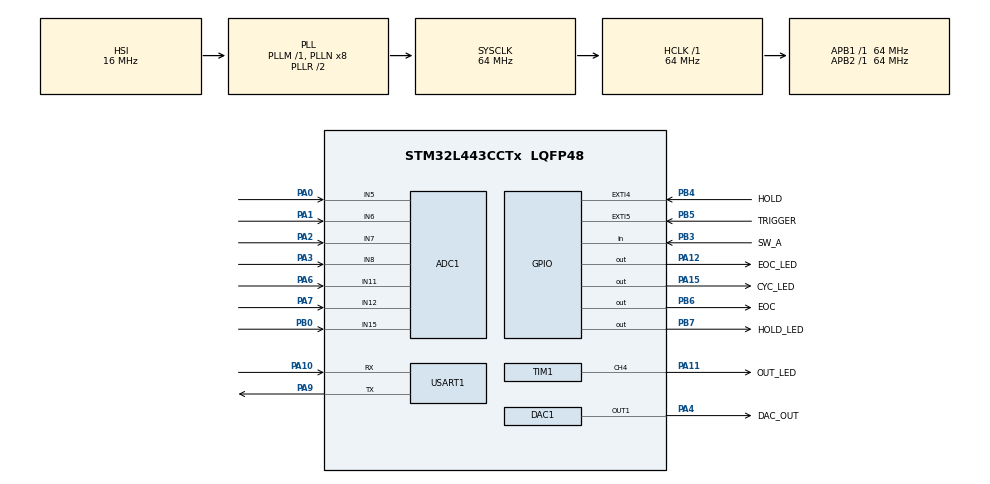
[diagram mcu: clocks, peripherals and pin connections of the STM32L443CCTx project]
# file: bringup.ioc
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ADC1.Channel-0\#ChannelRegularConversion=ADC_CHANNEL_5
ADC1.Channel-1\#ChannelRegularConversion=ADC_CHANNEL_6
ADC1.Channel-2\#ChannelRegularConversion=ADC_CHANNEL_7
ADC1.Channel-3\#ChannelRegularConversion=ADC_CHANNEL_8
ADC1.Channel-4\#ChannelRegularConversion=ADC_CHANNEL_11
ADC1.Channel-5\#ChannelRegularConversion=ADC_CHANNEL_12
ADC1.Channel-6\#ChannelRegularConversion=ADC_CHANNEL_15
ADC1.ClockPrescaler=ADC_CLOCK_ASYNC_DIV4
ADC1.DMAContinuousRequests=ENABLE
ADC1.EOCSelection=ADC_EOC_SINGLE_CONV
ADC1.ExternalTrigConv=ADC_EXTERNALTRIG_T2_TRGO
ADC1.NbrOfConversion=7
ADC1.NbrOfConversionFlag=1
ADC1.OffsetNumber-0\#ChannelRegularConversion=ADC_OFFSET_NONE
ADC1.OffsetNumber-1\#ChannelRegularConversion=ADC_OFFSET_NONE
ADC1.OffsetNumber-2\#ChannelRegularConversion=ADC_OFFSET_NONE
ADC1.OffsetNumber-3\#ChannelRegularConversion=ADC_OFFSET_NONE
ADC1.OffsetNumber-4\#ChannelRegularConversion=ADC_OFFSET_NONE
ADC1.OffsetNumber-5\#ChannelRegularConversion=ADC_OFFSET_NONE
ADC1.OffsetNumber-6\#ChannelRegularConversion=ADC_OFFSET_NONE
ADC1.OversamplingMode=DISABLE
ADC1.Rank-0\#ChannelRegularConversion=1
ADC1.Rank-1\#ChannelRegularConversion=2
ADC1.Rank-2\#ChannelRegularConversion=3
ADC1.Rank-3\#ChannelRegularConversion=4
ADC1.Rank-4\#ChannelRegularConversion=5
ADC1.Rank-5\#ChannelRegularConversion=6
ADC1.Rank-6\#ChannelRegularConversion=7
ADC1.SamplingTime-0\#ChannelRegularConversion=ADC_SAMPLETIME_6CYCLES_5
ADC1.SamplingTime-1\#ChannelRegularConversion=ADC_SAMPLETIME_6CYCLES_5
ADC1.SamplingTime-2\#ChannelRegularConversion=ADC_SAMPLETIME_6CYCLES_5
ADC1.SamplingTime-3\#ChannelRegularConversion=ADC_SAMPLETIME_6CYCLES_5
ADC1.SamplingTime-4\#ChannelRegularConversion=ADC_SAMPLETIME_6CYCLES_5
ADC1.SamplingTime-5\#ChannelRegularConversion=ADC_SAMPLETIME_6CYCLES_5
ADC1.SamplingTime-6\#ChannelRegularConversion=ADC_SAMPLETIME_6CYCLES_5
ADC1.master=1
DAC1.DAC_Trigger-DAC_OUT1_ExtAndInt=DAC_TRIGGER_T2_TRGO
Dma.ADC1.2.Direction=DMA_PERIPH_TO_MEMORY
Dma.ADC1.2.Instance=DMA1_Channel1
Dma.ADC1.2.MemDataAlignment=DMA_MDATAALIGN_HALFWORD
Dma.ADC1.2.MemInc=DMA_MINC_ENABLE
Dma.ADC1.2.Mode=DMA_CIRCULAR
Dma.ADC1.2.PeriphDataAlignment=DMA_PDATAALIGN_HALFWORD
Dma.ADC1.2.PeriphInc=DMA_PINC_DISABLE
Dma.ADC1.2.Priority=DMA_PRIORITY_MEDIUM
Dma.DAC_CH1.3.Direction=DMA_MEMORY_TO_PERIPH
Dma.DAC_CH1.3.Instance=DMA1_Channel3
Dma.DAC_CH1.3.MemDataAlignment=DMA_MDATAALIGN_HALFWORD
Dma.DAC_CH1.3.MemInc=DMA_MINC_ENABLE
Dma.DAC_CH1.3.Mode=DMA_NORMAL
Dma.DAC_CH1.3.PeriphDataAlignment=DMA_PDATAALIGN_HALFWORD
Dma.DAC_CH1.3.PeriphInc=DMA_PINC_DISABLE
Dma.DAC_CH1.3.Priority=DMA_PRIORITY_MEDIUM
Dma.Request0=USART1_RX
Dma.Request1=USART1_TX
Dma.Request2=ADC1
Dma.Request3=DAC_CH1
Dma.USART1_RX.0.Direction=DMA_PERIPH_TO_MEMORY
Dma.USART1_RX.0.Instance=DMA1_Channel5
Dma.USART1_RX.0.MemDataAlignment=DMA_MDATAALIGN_BYTE
Dma.USART1_RX.0.MemInc=DMA_MINC_ENABLE
Dma.USART1_RX.0.Mode=DMA_NORMAL
Dma.USART1_RX.0.PeriphDataAlignment=DMA_PDATAALIGN_BYTE
Dma.USART1_RX.0.PeriphInc=DMA_PINC_DISABLE
Dma.USART1_RX.0.Priority=DMA_PRIORITY_LOW
Dma.USART1_TX.1.Direction=DMA_MEMORY_TO_PERIPH
Dma.USART1_TX.1.Instance=DMA1_Channel4
Dma.USART1_TX.1.MemDataAlignment=DMA_MDATAALIGN_BYTE
Dma.USART1_TX.1.MemInc=DMA_MINC_ENABLE
Dma.USART1_TX.1.Mode=DMA_NORMAL
Dma.USART1_TX.1.PeriphDataAlignment=DMA_PDATAALIGN_BYTE
Dma.USART1_TX.1.PeriphInc=DMA_PINC_DISABLE
Dma.USART1_TX.1.Priority=DMA_PRIORITY_LOW
Mcu.Family=STM32L4
Mcu.Name=STM32L443CCTx
Mcu.Package=LQFP48
NVIC.ADC1_IRQn=true\:0\:0\:false\:false\:true\:true\:true
NVIC.DMA1_Channel1_IRQn=true\:0\:0\:false\:false\:true\:false\:true
NVIC.DMA1_Channel3_IRQn=true\:0\:0\:false\:false\:true\:false\:true
NVIC.DMA1_Channel4_IRQn=true\:0\:0\:false\:false\:true\:false\:true
NVIC.DMA1_Channel5_IRQn=true\:0\:0\:false\:false\:true\:false\:true
NVIC.EXTI4_IRQn=true\:3\:0\:true\:false\:true\:true\:true
NVIC.EXTI9_5_IRQn=true\:3\:0\:true\:false\:true\:true\:true
NVIC.PriorityGroup=NVIC_PRIORITYGROUP_4
NVIC.TIM2_IRQn=true\:0\:0\:false\:false\:true\:true\:true
NVIC.TIM6_DAC_IRQn=true\:0\:0\:false\:false\:true\:true\:true
NVIC.USART1_IRQn=true\:4\:0\:true\:false\:true\:true\:true
PA0.Signal=ADCx_IN5
PA1.Signal=ADCx_IN6
PA10.Mode=Asynchronous
PA10.Signal=USART1_RX
PA11.GPIO_Label=OUT_LED
PA11.Signal=S_TIM1_CH4
PA12.GPIO_Label=EOC_LED
PA12.Signal=GPIO_Output
PA13\ (JTMS-SWDIO).Mode=Serial_Wire
PA13\ (JTMS-SWDIO).Signal=SYS_JTMS-SWDIO
PA14\ (JTCK-SWCLK).Mode=Serial_Wire
PA14\ (JTCK-SWCLK).Signal=SYS_JTCK-SWCLK
PA15\ (JTDI).GPIO_Label=CYC_LED
PA15\ (JTDI).Signal=GPIO_Output
PA2.Signal=ADCx_IN7
PA3.Signal=ADCx_IN8
PA4.GPIO_Label=DAC_OUT
PA4.Signal=COMP_DAC11_group
PA6.Signal=ADCx_IN11
PA7.Signal=ADCx_IN12
PA9.Mode=Asynchronous
PA9.Signal=USART1_TX
PB0.Signal=ADCx_IN15
PB3\ (JTDO-TRACESWO).GPIO_Label=SW_A
PB3\ (JTDO-TRACESWO).GPIO_PuPd=GPIO_PULLUP
PB3\ (JTDO-TRACESWO).Signal=GPIO_Input
PB4\ (NJTRST).GPIO_Label=HOLD
PB4\ (NJTRST).GPIO_ModeDefaultEXTI=GPIO_MODE_IT_RISING_FALLING
PB4\ (NJTRST).Signal=GPXTI4
PB5.GPIO_Label=TRIGGER
PB5.GPIO_ModeDefaultEXTI=GPIO_MODE_IT_RISING_FALLING
PB5.Signal=GPXTI5
PB6.GPIO_Label=EOC
PB6.Signal=GPIO_Output
PB7.GPIO_Label=HOLD_LED
PB7.Signal=GPIO_Output
ProjectManager.HeapSize=0x200
ProjectManager.StackSize=0x400
ProjectManager.TargetToolchain=Makefile
RCC.ADCFreq_Value=64000000
RCC.AHBFreq_Value=64000000
RCC.APB1Freq_Value=64000000
RCC.APB1TimFreq_Value=64000000
RCC.APB2Freq_Value=64000000
RCC.APB2TimFreq_Value=64000000
RCC.CortexFreq_Value=64000000
RCC.HCLKFreq_Value=64000000
RCC.HSE_VALUE=8000000
RCC.HSI48_VALUE=48000000
RCC.HSI_VALUE=16000000
RCC.LSE_VALUE=32768
RCC.MSI_VALUE=4000000
RCC.PLLSourceVirtual=RCC_PLLSOURCE_HSI
RCC.SYSCLKFreq_VALUE=64000000
RCC.SYSCLKSource=RCC_SYSCLKSOURCE_PLLCLK
RCC.USBFreq_Value=64000000
RCC.VCOOutputFreq_Value=128000000
SH.ADCx_IN11.0=ADC1_IN11,IN11-Single-Ended
SH.ADCx_IN12.0=ADC1_IN12,IN12-Single-Ended
SH.ADCx_IN15.0=ADC1_IN15,IN15-Single-Ended
SH.ADCx_IN5.0=ADC1_IN5,IN5-Single-Ended
SH.ADCx_IN6.0=ADC1_IN6,IN6-Single-Ended
SH.ADCx_IN7.0=ADC1_IN7,IN7-Single-Ended
SH.ADCx_IN8.0=ADC1_IN8,IN8-Single-Ended
SH.COMP_DAC11_group.0=DAC1_OUT1,DAC_OUT1_ExtAndInt
SH.S_TIM1_CH4.0=TIM1_CH4,PWM Generation4 CH4
TIM1.Channel-PWM\ Generation4\ CH4=TIM_CHANNEL_4
TIM1.Period=255
TIM1.Prescaler=984
TIM2.Period=1450
TIM2.TIM_MasterOutputTrigger=TIM_TRGO_UPDATE
TIM6.Period=1000
TIM6.TIM_MasterOutputTrigger=TIM_TRGO_UPDATE
TIM7.Period=49000
TIM7.TIM_MasterOutputTrigger=TIM_TRGO_UPDATE
USART1.VirtualMode-Asynchronous=VM_ASYNC
VP_TIM1_VS_ClockSourceINT.Mode=Internal
VP_TIM1_VS_ClockSourceITR.Mode=TriggerSource_ITR1
VP_TIM1_VS_ControllerModeTrigger.Mode=Trigger Mode
VP_TIM2_VS_ClockSourceINT.Mode=Internal
VP_TIM6_VS_ClockSourceINT.Mode=Enable_Timer
VP_TIM7_VS_ClockSourceINT.Mode=Enable_Timer
board=custom

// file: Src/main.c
/* USER CODE BEGIN Header */
/**
  ******************************************************************************
  * @file           : main.c
  * @brief          : Main program body
  ******************************************************************************
  * @attention
  *
  * <h2><center>&copy; Copyright (c) 2019 STMicroelectronics.
  * All rights reserved.</center></h2>
  *
  * This software component is licensed by ST under BSD 3-Clause license,
  * the "License"; You may not use this file except in compliance with the
  * License. You may obtain a copy of the License at:
  *                        opensource.org/licenses/BSD-3-Clause
  *
  ******************************************************************************
  */
/* USER CODE END Header */

#include "main.h"

/* USER CODE BEGIN Includes */
#include <string.h>
#include <math.h>
#include <stdio.h>
#include <stdlib.h>
/* USER CODE END Includes */

/* USER CODE BEGIN PTD */
enum CLI_COMMAND
{
  CLI_ERR,
  CLI_REF,
  CLI_DAC,
  CLI_VOUT,
  CLI_CAL,
  CLI_SAVE,
  CLI_LOAD,
  CLI_SIZE,
  CLI_RESET,
  CLI_RANDOM,
  CLI_TRIG,
  CLI_HELP
};
/* USER CODE END PTD */

/* USER CODE BEGIN PD */
#define DRAWCSV 0
#define FLASH_USER_ADDR 0x08010000 /* Start @ of user Flash area */
/* USER CODE END PD */

/* USER CODE BEGIN PM */
#define log(M, ...)                                                                   \
  sprintf(uartMessage, "[LOG] (%s:%d) - " M "\n", __FILE__, __LINE__, ##__VA_ARGS__); \
  HAL_UART_Transmit(&huart1, (uint8_t *)uartMessage, strlen(uartMessage), HAL_MAX_DELAY);

#define printcl(M, ...)                               \
  sprintf(uartMessage, "\033[K" M "", ##__VA_ARGS__); \
  HAL_UART_Transmit(&huart1, (uint8_t *)uartMessage, strlen(uartMessage), HAL_MAX_DELAY);

#define print(M, ...)                           \
  sprintf(uartMessage, "" M "", ##__VA_ARGS__); \
  HAL_UART_Transmit(&huart1, (uint8_t *)uartMessage, strlen(uartMessage), HAL_MAX_DELAY);
/* USER CODE END PM */

ADC_HandleTypeDef hadc1;
DMA_HandleTypeDef hdma_adc1;

DAC_HandleTypeDef hdac1;
DMA_HandleTypeDef hdma_dac_ch1;

TIM_HandleTypeDef htim1;
TIM_HandleTypeDef htim2;
TIM_HandleTypeDef htim6;
TIM_HandleTypeDef htim7;

UART_HandleTypeDef huart1;
DMA_HandleTypeDef hdma_usart1_rx;
DMA_HandleTypeDef hdma_usart1_tx;

/* USER CODE BEGIN PV */

volatile GPIO_PinState switchState;
volatile GPIO_PinState triggerState;
volatile GPIO_PinState holdState;
volatile uint8_t outLedVal;
volatile uint16_t adcValues[7];
volatile uint16_t dacValue[1];
uint16_t targetDac;
char uartMessage[255];
char inString[32];
volatile char uartRXBuffer[10];

volatile uint32_t printTime = 0;

// Envelope Configuration
uint8_t TRIGGER_HOLD = 0;
uint8_t RANDOM = 0;

// Callibration Defines
const int ADC_RESOLUTION = 12;
uint16_t SAMPLES = 50; // 5000

uint16_t MAXADC;                 // maximum possible reading from ADC
float VREF = 3.3;                // ADC reference voltage (= power supply)
float VINPUT = 1.65;             // ADC input voltage from Normalized Jack
int16_t EXPECTED;                // expected ADC reading
int16_t adcCalibration[7] = {0}; // calibration table;
int16_t dacCalibration = 0;
int16_t adcOffset[7] = {0}; // offset table;

float SAMPLERATE = 0;

volatile ITStatus UartRXReady = RESET;
volatile ITStatus UartTXReady = RESET;
/* USER CODE END PV */

void SystemClock_Config(void);
static void MX_GPIO_Init(void);
static void MX_DMA_Init(void);
static void MX_ADC1_Init(void);
static void MX_DAC1_Init(void);
static void MX_TIM1_Init(void);
static void MX_TIM2_Init(void);
static void MX_TIM6_Init(void);
static void MX_TIM7_Init(void);
static void MX_USART1_UART_Init(void);
/* USER CODE BEGIN PFP */
static void LED_introSequence(void);
static GPIO_PinState read_Switch(void);
static void setPWM(uint8_t);
static void moveCursor(uint8_t, uint8_t);

static uint16_t read_ADC_Raw(ADC_Inputs);
static float read_ADC_Normalized(ADC_Inputs);
static float read_ADC_Voltage(ADC_Inputs);
static void Write_Flash(uint32_t, uint32_t *, uint32_t);
static uint32_t Read_Flash(uint32_t);
static uint32_t Get_Page(uint32_t);
static void save_Calibration(void);
static void load_Calibration(void);
static void read_User_Input(void);
static void parse_Command(void);
/* USER CODE END PFP */

int main(void)
{

  /* MCU Configuration--------------------------------------------------------*/

  /* Reset of all peripherals, Initializes the Flash interface and the Systick. */
  HAL_Init();

  /* Configure the system clock */
  SystemClock_Config();

  /* Initialize all configured peripherals */
  MX_GPIO_Init();
  MX_DMA_Init();
  MX_ADC1_Init();
  MX_DAC1_Init();
  MX_TIM1_Init();
  MX_TIM2_Init();
  MX_TIM6_Init();
  MX_TIM7_Init();
  MX_USART1_UART_Init();
  /* USER CODE BEGIN 2 */
  dacValue[0] = 0;
  MAXADC = (1 << ADC_RESOLUTION) - 1;  // maximum possible reading from ADC
  EXPECTED = MAXADC * (VINPUT / VREF); // expected ADC reading

  inString[0] = '\0';

  SAMPLERATE = HAL_RCC_GetHCLKFreq() / (float)htim2.Init.Period;

  HAL_DAC_Init(&hdac1);
  HAL_TIM_PWM_Start(&htim1, TIM_CHANNEL_4);
  HAL_TIM_Base_Start_IT(&htim2);
  HAL_ADC_Start_DMA(&hadc1, (uint32_t *)adcValues, 7);
  HAL_DAC_Start_DMA(&hdac1, DAC_CHANNEL_1, (uint32_t *)dacValue, 1, DAC_ALIGN_12B_R);

  LED_introSequence();
  outLedVal = 0;

  /* USER CODE END 2 */

  /* Infinite loop */
  /* USER CODE BEGIN WHILE */
  while (1)
  {
    read_Switch();
    /* USER CODE END WHILE */

    /* USER CODE BEGIN 3 */

    // ADC statistics

    if ((HAL_GetTick() - printTime) > 100)
    {
      printTime = HAL_GetTick();
      setPWM(outLedVal);
      outLedVal++;

      print("\033[?6h \033[H"); // [2J clear entire screen
      print("flash: %lx\n", Read_Flash(0x08010000));
      printcl("LED: %d\n", outLedVal); // [2J clear entire screen
      printcl("DAC: %d  \t OFF: %d \t", dacValue[0], dacCalibration);
      print("RATE: %f\n", SAMPLERATE);
      print("TRIG: %d \t TRIG-HOLD: %d \n", triggerState, TRIGGER_HOLD);
      print("HOLD: %d \t RANDOM: %d\n", holdState, RANDOM);
      print("CYCLE: %d\n", switchState);

      int tab = 3;
      moveCursor(7, tab);
      if (!DRAWCSV)
      {
        print("PIN");
        moveCursor(7, tab += 8);
        print("ADC");
        moveCursor(7, tab += 8);
        print("ADC V");
        moveCursor(7, tab += 8);
        print("VIN");
        moveCursor(7, tab += 8);
        print("VAR");
        moveCursor(7, tab += 8);
        print("STD");
        moveCursor(7, tab += 8);
        print("AVG");
        moveCursor(7, tab += 8);
        print("PPN");
        moveCursor(7, tab += 8);
        print("OFF");
      }
      else
      {
        moveCursor(7, tab += 8);
        print("PIN, ");
        moveCursor(7, tab += 8);
        print("ADC, ");
        moveCursor(7, tab += 8);
        print("VAR, ");
        moveCursor(7, tab += 8);
        print("STD, ");
        moveCursor(7, tab += 8);
        print("AVG, ");
        moveCursor(7, tab += 8);
        print("PPN");
      }

      float maxVariance = 0;
      float maxSTD = 0;
      int maxPPN = 0;
      float avrVariance = 0;
      float avrSTD = 0;
      int avrPPN = 0;

      for (int i = 0; i < 7; i++)
      {
        long datSum = 0; // reset our accumulated sum of input values to zero
        int sMax = 0;
        int sMin = MAXADC;
        long n;                                     // count of how many readings so far
        double x, mean, delta, m2, variance, stdev; // to calculate standard deviation

        n = 0;    // have not made any ADC readings yet
        mean = 0; // start off with running mean at zero
        m2 = 0;

        tab = 3;
        moveCursor(8 + i, tab);

        for (int j = 0; j < SAMPLES; j++)
        {
          x = adcValues[i] - adcCalibration[i]; // callibration offset
          datSum += x;
          if (x > sMax)
            sMax = x;
          if (x < sMin)
            sMin = x;
          n++;
          delta = x - mean;
          mean += delta / n;
          m2 += (delta * (x - mean));
        }

        variance = m2 / (n - 1); // (n-1):Sample Variance	(n): Population Variance
        stdev = sqrt(variance);  // Calculate standard deviation
        float datAvg = (1.0 * datSum) / n;
        int ppNoise = sMax - sMin;

        if (ppNoise > maxPPN)
          maxPPN = ppNoise;
        if (stdev > maxSTD)
          maxSTD = stdev;
        if (variance > maxVariance)
          maxVariance = variance;
        avrPPN += ppNoise;
        avrSTD += stdev;
        avrVariance += variance;

        int sOffset;

        sOffset = datAvg - EXPECTED;

        adcOffset[i] = sOffset;

        moveCursor(8 + i, tab);
        printcl("A%d:", i);
        moveCursor(8 + i, tab += 8);
        print("%d", adcValues[i]);
        moveCursor(8 + i, tab += 8);
        print("%.2f", (adcValues[i] / (float)MAXADC) * 3.3);
        moveCursor(8 + i, tab += 8);
        if (i > 2)
        {
          print("%.2f", ((adcValues[i] / (float)MAXADC) * 3.3) / -0.33 + 5);
        }
        moveCursor(8 + i, tab += 8);
        print("%.2f", variance);
        moveCursor(8 + i, tab += 8);
        print("%.2f", stdev);
        moveCursor(8 + i, tab += 8);
        print("%.1f", datAvg);
        moveCursor(8 + i, tab += 8);
        print("%d", ppNoise);
        moveCursor(8 + i, tab += 8);
        print("%d", sOffset);
      }
      // print stats for all ADC pins
      avrPPN /= 12;
      avrSTD /= 12.0;
      avrVariance /= 12.0;
      tab = 3 + 8 * 3;
      moveCursor(16, tab);
      printcl("Max:");
      moveCursor(17, tab);
      printcl("Avr:");

      moveCursor(16, tab + 8);
      print("%.2f", maxVariance);
      moveCursor(17, tab + 8);
      print("%.2f", avrVariance);
      moveCursor(16, tab + 16);
      print("%.2f", maxSTD);
      moveCursor(17, tab + 16);
      print("%.2f", avrSTD);
      moveCursor(16, tab + 32);
      print("%d", maxPPN);
      moveCursor(17, tab + 32);
      print("%d", avrPPN);

      printcl("\n\n pot: %.2f \t\t cv: %f \t\t norm: %f \t\t cal: %d", read_ADC_Voltage(ADC_ATTACK_POT), read_ADC_Voltage(ADC_ATTACK_CV), read_ADC_Normalized(ADC_ATTACK_CV), adcCalibration[ADC_ATTACK_CV]);
    }

    read_User_Input();
  }
  /* USER CODE END 3 */
}

void SystemClock_Config(void)
{
  RCC_OscInitTypeDef RCC_OscInitStruct = {0};
  RCC_ClkInitTypeDef RCC_ClkInitStruct = {0};
  RCC_PeriphCLKInitTypeDef PeriphClkInit = {0};

  /** Initializes the CPU, AHB and APB busses clocks
  */
  RCC_OscInitStruct.OscillatorType = RCC_OSCILLATORTYPE_HSI;
  RCC_OscInitStruct.HSIState = RCC_HSI_ON;
  RCC_OscInitStruct.HSICalibrationValue = RCC_HSICALIBRATION_DEFAULT;
  RCC_OscInitStruct.PLL.PLLState = RCC_PLL_ON;
  RCC_OscInitStruct.PLL.PLLSource = RCC_PLLSOURCE_HSI;
  RCC_OscInitStruct.PLL.PLLM = 1;
  RCC_OscInitStruct.PLL.PLLN = 8;
  RCC_OscInitStruct.PLL.PLLP = RCC_PLLP_DIV7;
  RCC_OscInitStruct.PLL.PLLQ = RCC_PLLQ_DIV2;
  RCC_OscInitStruct.PLL.PLLR = RCC_PLLR_DIV2;
  if (HAL_RCC_OscConfig(&RCC_OscInitStruct) != HAL_OK)
  {
    Error_Handler();
  }
  /** Initializes the CPU, AHB and APB busses clocks
  */
  RCC_ClkInitStruct.ClockType = RCC_CLOCKTYPE_HCLK | RCC_CLOCKTYPE_SYSCLK | RCC_CLOCKTYPE_PCLK1 | RCC_CLOCKTYPE_PCLK2;
  RCC_ClkInitStruct.SYSCLKSource = RCC_SYSCLKSOURCE_PLLCLK;
  RCC_ClkInitStruct.AHBCLKDivider = RCC_SYSCLK_DIV1;
  RCC_ClkInitStruct.APB1CLKDivider = RCC_HCLK_DIV1;
  RCC_ClkInitStruct.APB2CLKDivider = RCC_HCLK_DIV1;

  if (HAL_RCC_ClockConfig(&RCC_ClkInitStruct, FLASH_LATENCY_3) != HAL_OK)
  {
    Error_Handler();
  }
  PeriphClkInit.PeriphClockSelection = RCC_PERIPHCLK_USART1 | RCC_PERIPHCLK_ADC;
  PeriphClkInit.Usart1ClockSelection = RCC_USART1CLKSOURCE_PCLK2;
  PeriphClkInit.AdcClockSelection = RCC_ADCCLKSOURCE_PLLSAI1;
  PeriphClkInit.PLLSAI1.PLLSAI1Source = RCC_PLLSOURCE_HSI;
  PeriphClkInit.PLLSAI1.PLLSAI1M = 1;
  PeriphClkInit.PLLSAI1.PLLSAI1N = 8;
  PeriphClkInit.PLLSAI1.PLLSAI1P = RCC_PLLP_DIV7;
  PeriphClkInit.PLLSAI1.PLLSAI1Q = RCC_PLLQ_DIV2;
  PeriphClkInit.PLLSAI1.PLLSAI1R = RCC_PLLR_DIV2;
  PeriphClkInit.PLLSAI1.PLLSAI1ClockOut = RCC_PLLSAI1_ADC1CLK;
  if (HAL_RCCEx_PeriphCLKConfig(&PeriphClkInit) != HAL_OK)
  {
    Error_Handler();
  }
  /** Configure the main internal regulator output voltage
  */
  if (HAL_PWREx_ControlVoltageScaling(PWR_REGULATOR_VOLTAGE_SCALE1) != HAL_OK)
  {
    Error_Handler();
  }
}

static void MX_ADC1_Init(void)
{

  ADC_ChannelConfTypeDef sConfig = {0};

  /** Common config
  */
  hadc1.Instance = ADC1;
  hadc1.Init.ClockPrescaler = ADC_CLOCK_ASYNC_DIV4;
  hadc1.Init.Resolution = ADC_RESOLUTION_12B;
  hadc1.Init.DataAlign = ADC_DATAALIGN_RIGHT;
  hadc1.Init.ScanConvMode = ADC_SCAN_ENABLE;
  hadc1.Init.EOCSelection = ADC_EOC_SINGLE_CONV;
  hadc1.Init.LowPowerAutoWait = DISABLE;
  hadc1.Init.ContinuousConvMode = DISABLE;
  hadc1.Init.NbrOfConversion = 7;
  hadc1.Init.DiscontinuousConvMode = DISABLE;
  hadc1.Init.ExternalTrigConv = ADC_EXTERNALTRIG_T2_TRGO;
  hadc1.Init.ExternalTrigConvEdge = ADC_EXTERNALTRIGCONVEDGE_RISING;
  hadc1.Init.DMAContinuousRequests = ENABLE;
  hadc1.Init.Overrun = ADC_OVR_DATA_PRESERVED;
  hadc1.Init.OversamplingMode = DISABLE;
  if (HAL_ADC_Init(&hadc1) != HAL_OK)
  {
    Error_Handler();
  }
  /** Configure Regular Channel
  */
  sConfig.Channel = ADC_CHANNEL_5;
  sConfig.Rank = ADC_REGULAR_RANK_1;
  sConfig.SamplingTime = ADC_SAMPLETIME_6CYCLES_5;
  sConfig.SingleDiff = ADC_SINGLE_ENDED;
  sConfig.OffsetNumber = ADC_OFFSET_NONE;
  sConfig.Offset = 0;
  if (HAL_ADC_ConfigChannel(&hadc1, &sConfig) != HAL_OK)
  {
    Error_Handler();
  }
  /** Configure Regular Channel
  */
  sConfig.Channel = ADC_CHANNEL_6;
  sConfig.Rank = ADC_REGULAR_RANK_2;
  if (HAL_ADC_ConfigChannel(&hadc1, &sConfig) != HAL_OK)
  {
    Error_Handler();
  }
  /** Configure Regular Channel
  */
  sConfig.Channel = ADC_CHANNEL_7;
  sConfig.Rank = ADC_REGULAR_RANK_3;
  if (HAL_ADC_ConfigChannel(&hadc1, &sConfig) != HAL_OK)
  {
    Error_Handler();
  }
  /** Configure Regular Channel
  */
  sConfig.Channel = ADC_CHANNEL_8;
  sConfig.Rank = ADC_REGULAR_RANK_4;
  if (HAL_ADC_ConfigChannel(&hadc1, &sConfig) != HAL_OK)
  {
    Error_Handler();
  }
  /** Configure Regular Channel
  */
  sConfig.Channel = ADC_CHANNEL_11;
  sConfig.Rank = ADC_REGULAR_RANK_5;
  if (HAL_ADC_ConfigChannel(&hadc1, &sConfig) != HAL_OK)
  {
    Error_Handler();
  }
  /** Configure Regular Channel
  */
  sConfig.Channel = ADC_CHANNEL_12;
  sConfig.Rank = ADC_REGULAR_RANK_6;
  if (HAL_ADC_ConfigChannel(&hadc1, &sConfig) != HAL_OK)
  {
    Error_Handler();
  }
  /** Configure Regular Channel
  */
  sConfig.Channel = ADC_CHANNEL_15;
  sConfig.Rank = ADC_REGULAR_RANK_7;
  if (HAL_ADC_ConfigChannel(&hadc1, &sConfig) != HAL_OK)
  {
    Error_Handler();
  }
}

static void MX_DAC1_Init(void)
{

  DAC_ChannelConfTypeDef sConfig = {0};

  /** DAC Initialization
  */
  hdac1.Instance = DAC1;
  if (HAL_DAC_Init(&hdac1) != HAL_OK)
  {
    Error_Handler();
  }
  /** DAC channel OUT1 config
  */
  sConfig.DAC_SampleAndHold = DAC_SAMPLEANDHOLD_DISABLE;
  sConfig.DAC_Trigger = DAC_TRIGGER_T2_TRGO;
  sConfig.DAC_OutputBuffer = DAC_OUTPUTBUFFER_DISABLE;
  sConfig.DAC_ConnectOnChipPeripheral = DAC_CHIPCONNECT_DISABLE;
  sConfig.DAC_UserTrimming = DAC_TRIMMING_FACTORY;
  if (HAL_DAC_ConfigChannel(&hdac1, &sConfig, DAC_CHANNEL_1) != HAL_OK)
  {
    Error_Handler();
  }
}

static void MX_TIM1_Init(void)
{

  TIM_ClockConfigTypeDef sClockSourceConfig = {0};
  TIM_SlaveConfigTypeDef sSlaveConfig = {0};
  TIM_MasterConfigTypeDef sMasterConfig = {0};
  TIM_OC_InitTypeDef sConfigOC = {0};
  TIM_BreakDeadTimeConfigTypeDef sBreakDeadTimeConfig = {0};

  htim1.Instance = TIM1;
  htim1.Init.Prescaler = 984;
  htim1.Init.CounterMode = TIM_COUNTERMODE_UP;
  htim1.Init.Period = 255;
  htim1.Init.ClockDivision = TIM_CLOCKDIVISION_DIV1;
  htim1.Init.RepetitionCounter = 0;
  htim1.Init.AutoReloadPreload = TIM_AUTORELOAD_PRELOAD_DISABLE;
  if (HAL_TIM_Base_Init(&htim1) != HAL_OK)
  {
    Error_Handler();
  }
  sClockSourceConfig.ClockSource = TIM_CLOCKSOURCE_INTERNAL;
  if (HAL_TIM_ConfigClockSource(&htim1, &sClockSourceConfig) != HAL_OK)
  {
    Error_Handler();
  }
  if (HAL_TIM_PWM_Init(&htim1) != HAL_OK)
  {
    Error_Handler();
  }
  sSlaveConfig.SlaveMode = TIM_SLAVEMODE_TRIGGER;
  sSlaveConfig.InputTrigger = TIM_TS_ITR1;
  if (HAL_TIM_SlaveConfigSynchronization(&htim1, &sSlaveConfig) != HAL_OK)
  {
    Error_Handler();
  }
  sMasterConfig.MasterOutputTrigger = TIM_TRGO_RESET;
  sMasterConfig.MasterOutputTrigger2 = TIM_TRGO2_RESET;
  sMasterConfig.MasterSlaveMode = TIM_MASTERSLAVEMODE_DISABLE;
  if (HAL_TIMEx_MasterConfigSynchronization(&htim1, &sMasterConfig) != HAL_OK)
  {
    Error_Handler();
  }
  sConfigOC.OCMode = TIM_OCMODE_PWM1;
  sConfigOC.Pulse = 0;
  sConfigOC.OCPolarity = TIM_OCPOLARITY_HIGH;
  sConfigOC.OCFastMode = TIM_OCFAST_DISABLE;
  sConfigOC.OCIdleState = TIM_OCIDLESTATE_RESET;
  sConfigOC.OCNIdleState = TIM_OCNIDLESTATE_RESET;
  if (HAL_TIM_PWM_ConfigChannel(&htim1, &sConfigOC, TIM_CHANNEL_4) != HAL_OK)
  {
    Error_Handler();
  }
  sBreakDeadTimeConfig.OffStateRunMode = TIM_OSSR_DISABLE;
  sBreakDeadTimeConfig.OffStateIDLEMode = TIM_OSSI_DISABLE;
  sBreakDeadTimeConfig.LockLevel = TIM_LOCKLEVEL_OFF;
  sBreakDeadTimeConfig.DeadTime = 0;
  sBreakDeadTimeConfig.BreakState = TIM_BREAK_DISABLE;
  sBreakDeadTimeConfig.BreakPolarity = TIM_BREAKPOLARITY_HIGH;
  sBreakDeadTimeConfig.BreakFilter = 0;
  sBreakDeadTimeConfig.Break2State = TIM_BREAK2_DISABLE;
  sBreakDeadTimeConfig.Break2Polarity = TIM_BREAK2POLARITY_HIGH;
  sBreakDeadTimeConfig.Break2Filter = 0;
  sBreakDeadTimeConfig.AutomaticOutput = TIM_AUTOMATICOUTPUT_DISABLE;
  if (HAL_TIMEx_ConfigBreakDeadTime(&htim1, &sBreakDeadTimeConfig) != HAL_OK)
  {
    Error_Handler();
  }
  HAL_TIM_MspPostInit(&htim1);
}

static void MX_TIM2_Init(void)
{

  TIM_ClockConfigTypeDef sClockSourceConfig = {0};
  TIM_MasterConfigTypeDef sMasterConfig = {0};

  htim2.Instance = TIM2;
  htim2.Init.Prescaler = 0;
  htim2.Init.CounterMode = TIM_COUNTERMODE_UP;
  htim2.Init.Period = 1450;
  htim2.Init.ClockDivision = TIM_CLOCKDIVISION_DIV1;
  htim2.Init.AutoReloadPreload = TIM_AUTORELOAD_PRELOAD_DISABLE;
  if (HAL_TIM_Base_Init(&htim2) != HAL_OK)
  {
    Error_Handler();
  }
  sClockSourceConfig.ClockSource = TIM_CLOCKSOURCE_INTERNAL;
  if (HAL_TIM_ConfigClockSource(&htim2, &sClockSourceConfig) != HAL_OK)
  {
    Error_Handler();
  }
  sMasterConfig.MasterOutputTrigger = TIM_TRGO_UPDATE;
  sMasterConfig.MasterSlaveMode = TIM_MASTERSLAVEMODE_DISABLE;
  if (HAL_TIMEx_MasterConfigSynchronization(&htim2, &sMasterConfig) != HAL_OK)
  {
    Error_Handler();
  }
}

static void MX_TIM6_Init(void)
{

  TIM_MasterConfigTypeDef sMasterConfig = {0};

  htim6.Instance = TIM6;
  htim6.Init.Prescaler = 0;
  htim6.Init.CounterMode = TIM_COUNTERMODE_UP;
  htim6.Init.Period = 1000;
  htim6.Init.AutoReloadPreload = TIM_AUTORELOAD_PRELOAD_DISABLE;
  if (HAL_TIM_Base_Init(&htim6) != HAL_OK)
  {
    Error_Handler();
  }
  sMasterConfig.MasterOutputTrigger = TIM_TRGO_UPDATE;
  sMasterConfig.MasterSlaveMode = TIM_MASTERSLAVEMODE_DISABLE;
  if (HAL_TIMEx_MasterConfigSynchronization(&htim6, &sMasterConfig) != HAL_OK)
  {
    Error_Handler();
  }
}

static void MX_TIM7_Init(void)
{

  TIM_MasterConfigTypeDef sMasterConfig = {0};

  htim7.Instance = TIM7;
  htim7.Init.Prescaler = 0;
  htim7.Init.CounterMode = TIM_COUNTERMODE_UP;
  htim7.Init.Period = 49000;
  htim7.Init.AutoReloadPreload = TIM_AUTORELOAD_PRELOAD_DISABLE;
  if (HAL_TIM_Base_Init(&htim7) != HAL_OK)
  {
    Error_Handler();
  }
  sMasterConfig.MasterOutputTrigger = TIM_TRGO_UPDATE;
  sMasterConfig.MasterSlaveMode = TIM_MASTERSLAVEMODE_DISABLE;
  if (HAL_TIMEx_MasterConfigSynchronization(&htim7, &sMasterConfig) != HAL_OK)
  {
    Error_Handler();
  }
}

static void MX_USART1_UART_Init(void)
{

  huart1.Instance = USART1;
  huart1.Init.BaudRate = 115200;
  huart1.Init.WordLength = UART_WORDLENGTH_8B;
  huart1.Init.StopBits = UART_STOPBITS_1;
  huart1.Init.Parity = UART_PARITY_NONE;
  huart1.Init.Mode = UART_MODE_TX_RX;
  huart1.Init.HwFlowCtl = UART_HWCONTROL_NONE;
  huart1.Init.OverSampling = UART_OVERSAMPLING_16;
  huart1.Init.OneBitSampling = UART_ONE_BIT_SAMPLE_DISABLE;
  huart1.AdvancedInit.AdvFeatureInit = UART_ADVFEATURE_NO_INIT;
  if (HAL_UART_Init(&huart1) != HAL_OK)
  {
    Error_Handler();
  }
}

static void MX_DMA_Init(void)
{

  /* DMA controller clock enable */
  __HAL_RCC_DMA1_CLK_ENABLE();

  /* DMA interrupt init */
  /* DMA1_Channel1_IRQn interrupt configuration */
  HAL_NVIC_SetPriority(DMA1_Channel1_IRQn, 0, 0);
  HAL_NVIC_EnableIRQ(DMA1_Channel1_IRQn);
  /* DMA1_Channel3_IRQn interrupt configuration */
  HAL_NVIC_SetPriority(DMA1_Channel3_IRQn, 0, 0);
  HAL_NVIC_EnableIRQ(DMA1_Channel3_IRQn);
  /* DMA1_Channel4_IRQn interrupt configuration */
  HAL_NVIC_SetPriority(DMA1_Channel4_IRQn, 0, 0);
  HAL_NVIC_EnableIRQ(DMA1_Channel4_IRQn);
  /* DMA1_Channel5_IRQn interrupt configuration */
  HAL_NVIC_SetPriority(DMA1_Channel5_IRQn, 0, 0);
  HAL_NVIC_EnableIRQ(DMA1_Channel5_IRQn);
}

static void MX_GPIO_Init(void)
{
  GPIO_InitTypeDef GPIO_InitStruct = {0};

  /* GPIO Ports Clock Enable */
  __HAL_RCC_GPIOA_CLK_ENABLE();
  __HAL_RCC_GPIOB_CLK_ENABLE();

  /*Configure GPIO pin Output Level */
  HAL_GPIO_WritePin(GPIOA, EOC_LED_Pin | CYC_LED_Pin, GPIO_PIN_RESET);

  /*Configure GPIO pin Output Level */
  HAL_GPIO_WritePin(GPIOB, EOC_Pin | HOLD_LED_Pin, GPIO_PIN_RESET);

  /*Configure GPIO pins : EOC_LED_Pin CYC_LED_Pin */
  GPIO_InitStruct.Pin = EOC_LED_Pin | CYC_LED_Pin;
  GPIO_InitStruct.Mode = GPIO_MODE_OUTPUT_PP;
  GPIO_InitStruct.Pull = GPIO_NOPULL;
  GPIO_InitStruct.Speed = GPIO_SPEED_FREQ_LOW;
  HAL_GPIO_Init(GPIOA, &GPIO_InitStruct);

  /*Configure GPIO pin : SW_A_Pin */
  GPIO_InitStruct.Pin = SW_A_Pin;
  GPIO_InitStruct.Mode = GPIO_MODE_INPUT;
  GPIO_InitStruct.Pull = GPIO_PULLUP;
  HAL_GPIO_Init(SW_A_GPIO_Port, &GPIO_InitStruct);

  /*Configure GPIO pins : HOLD_Pin TRIGGER_Pin */
  GPIO_InitStruct.Pin = HOLD_Pin | TRIGGER_Pin;
  GPIO_InitStruct.Mode = GPIO_MODE_IT_RISING_FALLING;
  GPIO_InitStruct.Pull = GPIO_NOPULL;
  HAL_GPIO_Init(GPIOB, &GPIO_InitStruct);

  /*Configure GPIO pins : EOC_Pin HOLD_LED_Pin */
  GPIO_InitStruct.Pin = EOC_Pin | HOLD_LED_Pin;
  GPIO_InitStruct.Mode = GPIO_MODE_OUTPUT_PP;
  GPIO_InitStruct.Pull = GPIO_NOPULL;
  GPIO_InitStruct.Speed = GPIO_SPEED_FREQ_LOW;
  HAL_GPIO_Init(GPIOB, &GPIO_InitStruct);

  /* EXTI interrupt init*/
  HAL_NVIC_SetPriority(EXTI4_IRQn, 3, 0);
  HAL_NVIC_EnableIRQ(EXTI4_IRQn);

  HAL_NVIC_SetPriority(EXTI9_5_IRQn, 3, 0);
  HAL_NVIC_EnableIRQ(EXTI9_5_IRQn);
}

/* USER CODE BEGIN 4 */
void LED_introSequence()
{
  HAL_GPIO_WritePin(CYC_LED_GPIO_Port, CYC_LED_Pin, GPIO_PIN_SET);
  HAL_Delay(100);
  HAL_GPIO_WritePin(HOLD_LED_GPIO_Port, HOLD_LED_Pin, GPIO_PIN_SET);
  HAL_Delay(100);
  HAL_GPIO_WritePin(EOC_LED_GPIO_Port, EOC_LED_Pin, GPIO_PIN_SET);
  HAL_Delay(100);
  setPWM(255);
  HAL_Delay(100);
  HAL_GPIO_WritePin(CYC_LED_GPIO_Port, CYC_LED_Pin, GPIO_PIN_RESET);
  HAL_Delay(100);
  HAL_GPIO_WritePin(HOLD_LED_GPIO_Port, HOLD_LED_Pin, GPIO_PIN_RESET);
  HAL_Delay(100);
  HAL_GPIO_WritePin(EOC_LED_GPIO_Port, EOC_LED_Pin, GPIO_PIN_RESET);
  HAL_Delay(100);
  setPWM(0);
  HAL_Delay(100);
}

GPIO_PinState read_Switch()
{
  GPIO_PinState t = HAL_GPIO_ReadPin(SW_A_GPIO_Port, SW_A_Pin);
  if (switchState != t)
  {
    switchState = t;
    if (switchState == GPIO_PIN_RESET)
      HAL_GPIO_TogglePin(CYC_LED_GPIO_Port, CYC_LED_Pin);
  }
  return t;
}

// Set PWM output value for OUT LED
void setPWM(uint8_t val)
{
  htim1.Instance->CCR4 = val;
}

// update function for DSP
void update()
{
  //HAL_GPIO_WritePin(HOLD_LED_GPIO_Port, HOLD_LED_Pin, GPIO_PIN_SET);
  //dacValue[0] = adcValues[0]; //adcValues[3]; //4095; //rand();
  dacValue[0] = targetDac;
  //HAL_GPIO_WritePin(HOLD_LED_GPIO_Port, HOLD_LED_Pin, GPIO_PIN_RESET);
}

// trigger input callback handler
void triggerHandler(GPIO_PinState state)
{
  triggerState = state;
  HAL_GPIO_WritePin(EOC_LED_GPIO_Port, EOC_LED_Pin, state);
}

// hold input callback handler
void holdHandler(GPIO_PinState state)
{
  holdState = state;
  HAL_GPIO_WritePin(EOC_LED_GPIO_Port, EOC_LED_Pin, state);
}

// ADC conversion complete callback handler
void HAL_ADC_ConvCpltCallback(ADC_HandleTypeDef *hadc)
{
  update();
  HAL_DAC_Start_DMA(&hdac1, DAC_CHANNEL_1, (uint32_t *)dacValue, 1, DAC_ALIGN_12B_R);
}

void moveCursor(uint8_t l, uint8_t c)
{
  print("\033[%d;%dH", l, c);
}

uint16_t read_ADC_Raw(ADC_Inputs pin)
{
  if (pin < 0)
    pin = 0;
  if (pin > 6)
    pin = 6;

  if (pin < 3) // potentiometers
    return adcValues[pin];
  else // CV
    return MAXADC - (adcValues[pin] - adcCalibration[pin]);
}

float read_ADC_Normalized(ADC_Inputs pin)
{
  if (pin < 0)
    pin = 0;
  if (pin > 6)
    pin = 6;

  if (pin < 3) // potentiometers
    return (float)adcValues[pin] / MAXADC;
  else // CV
    return (float)(adcValues[pin] - adcCalibration[pin]) / MAXADC * -2.0 + 1;
}

float read_ADC_Voltage(ADC_Inputs pin)
{
  if (pin < 0)
    pin = 0;
  if (pin > 6)
    pin = 6;

  if (pin < 3) // potentiometers
    return (float)adcValues[pin] / MAXADC * 3.3;
  else // CV
    return ((float)(adcValues[pin] - adcCalibration[pin]) / (float)MAXADC * 3.3) / -0.33 + 5;
}

void Write_Flash(uint32_t address, uint32_t *data, uint32_t size)
{
  HAL_FLASH_Unlock();
  __HAL_FLASH_CLEAR_FLAG(FLASH_FLAG_OPTVERR | FLASH_FLAG_EOP | FLASH_FLAG_OPERR | FLASH_FLAG_WRPERR | FLASH_FLAG_PGAERR | FLASH_FLAG_PGSERR);
  FLASH_EraseInitTypeDef EraseInitStruct;
  uint32_t PAGEError = 0;
  EraseInitStruct.TypeErase = FLASH_TYPEERASE_PAGES;
  EraseInitStruct.Banks = FLASH_BANK_1;
  EraseInitStruct.Page = Get_Page(address);
  EraseInitStruct.NbPages = 1;
  HAL_FLASHEx_Erase(&EraseInitStruct, &PAGEError);
  __disable_irq();
  for (int i = 0; i < size; i++)
  {
    HAL_FLASH_Program(FLASH_TYPEPROGRAM_DOUBLEWORD, address, data[i]);
    address += 8;
  }
  __enable_irq();
  HAL_FLASH_Lock();
}

uint32_t Read_Flash(uint32_t address)
{
  return *(__IO uint32_t *)address;
}

/**
  * @brief  Gets the page of a given address
  * @param  Addr: Address of the FLASH Memory
  * @retval The page of a given address
  */
static uint32_t Get_Page(uint32_t Addr)
{
  uint32_t page = 0;

  if (Addr < (FLASH_BASE + FLASH_BANK_SIZE))
  {
    /* Bank 1 */
    page = (Addr - FLASH_BASE) / FLASH_PAGE_SIZE;
  }
  else
  {
    /* Bank 2 */
    page = (Addr - (FLASH_BASE + FLASH_BANK_SIZE)) / FLASH_PAGE_SIZE;
  }

  return page;
}

void load_Calibration(void)
{
  if (Read_Flash(FLASH_USER_ADDR) == 0xDEAD)
  {
    uint32_t address = FLASH_USER_ADDR + 8;
    for (int i = 0; i < 7; i++)
    {
      adcCalibration[i] = (int32_t)Read_Flash(address);
      address += 8;
    }
    dacCalibration = (int32_t)Read_Flash(address);
    address += 8;
    TRIGGER_HOLD = (uint8_t)Read_Flash(address);
    address += 8;
    RANDOM = (uint8_t)Read_Flash(address);
  }
  else
  {
    log("No Calibration Data");
  }
}

void save_Calibration(void)
{
  uint32_t flashData[11] = {0};
  flashData[0] = 0xDEAD;
  for (int i = 0; i < 7; i++)
  {
    flashData[i + 1] = adcCalibration[i];
  }
  flashData[8] = dacCalibration;
  flashData[9] = TRIGGER_HOLD;
  flashData[10] = RANDOM;
  Write_Flash(FLASH_USER_ADDR, flashData, 11);
}

void read_User_Input()
{
  //log("user input");
  if (UartRXReady != SET)
  {
    if (HAL_UART_Receive_DMA(&huart1, (uint8_t *)uartRXBuffer, 1) != HAL_OK)
    {
      Error_Handler();
    }
  }
  //while (UartRXReady != SET)
  //{
  //}

  if (UartRXReady == SET)
  {
    UartRXReady = RESET;

    //log("user: %c - 0x%X", uartRXBuffer[0], uartRXBuffer[0]);
    if (uartRXBuffer[0] == '\n')
    {
      moveCursor(30, 2);
      printcl(""); // print cl

      parse_Command();
      inString[0] = '\0';
    }
    else if (uartRXBuffer[0] == 0x8)
    {
      if (strlen(inString) > 0)
      {
        inString[strlen(inString) - 1] = '\0';
      }
      //log("BS");
    }
    else if ((uartRXBuffer[0] >= 0x20) && (uartRXBuffer[0] <= 0x126))
    {
      sprintf(inString, "%s%c", inString, uartRXBuffer[0]);
    }

    if (strlen(inString) > 0)
    {
      moveCursor(30, 2);
      printcl(">>> %s", inString); // print cl
    }
  }
}

void parse_Command()
{
  char *pch;
  pch = strtok(inString, " ");
  uint8_t command = CLI_ERR;
  uint8_t arguments = 0;
  moveCursor(29, 2);

  while (pch != NULL)
  {
    if (arguments == 0)
    {
      if (strncmp(pch, "ref", 3) == 0)
      {
        printcl(" %s", pch);
        command = CLI_REF;
      }
      else if (strncmp(pch, "dac", 3) == 0)
      {
        printcl(" %s", pch);
        command = CLI_DAC;
      }
      else if (strncmp(pch, "vout", 4) == 0)
      {
        printcl(" %s", pch);
        command = CLI_VOUT;
      }
      else if (strncmp(pch, "cal", 3) == 0)
      {
        printcl(" %s", pch);
        command = CLI_CAL;
        // callibrate
        for (int i = 3; i < 7; i++)
        {
          adcCalibration[i] = adcOffset[i];
        }
        dacCalibration = dacValue[0];
      }
      else if (strncmp(pch, "load", 4) == 0)
      {
        printcl(" %s", pch);
        command = CLI_LOAD;
        load_Calibration();
      }
      else if (strncmp(pch, "save", 4) == 0)
      {
        printcl(" %s", pch);
        command = CLI_SAVE;
        save_Calibration();
      }
      else if (strncmp(pch, "reset", 5) == 0)
      {
        printcl(" %s", pch);
        command = CLI_RESET;
        for (int i = 0; i < 7; i++)
        {
          adcCalibration[i] = 0;
        }
        dacCalibration = 0;
        TRIGGER_HOLD = 0;
        RANDOM = 0;
      }
      else if (strncmp(pch, "size", 4) == 0)
      {
        printcl(" %s", pch);
        command = CLI_SIZE;
      }
      else if (strncmp(pch, "rand", 4) == 0)
      {
        printcl(" %s", pch);
        command = CLI_RANDOM;
      }
      else if (strncmp(pch, "trig", 4) == 0)
      {
        printcl(" %s", pch);
        command = CLI_TRIG;
      }
      else if (strncmp(pch, "help", 4) == 0)
      {
        printcl(" commands: ref {num}, dac {num}, vout {num}, cal, load, save, reset, size {num}, rand {bit}, trig {bit} help");
        command = CLI_HELP;
      }
      else
      {
        if (arguments == 0)
          printcl(" command not found");
      }
    }

    if (arguments == 1)
    {
      float arg = atof(pch);

      switch (command)
      {
      case CLI_REF:
        if (arg > 12.0)
          arg = 12.0;
        if (arg < -12.0)
          arg = -12.0;
        VINPUT = (arg * -0.33) + 1.65;
        EXPECTED = MAXADC * (VINPUT / VREF); // expected ADC reading
        break;
      case CLI_DAC:
        if (arg > (float)MAXADC)
          arg = (float)MAXADC;
        if (arg < 0.0)
          arg = 0.0;
        targetDac = arg;
        print(" val: %s", pch);
        break;
      case CLI_VOUT:
        if (arg > 10.0)
          arg = 10.0;
        if (arg < 0.0)
          arg = 0.0;
        targetDac = (arg / 10.0) * MAXADC;
        print(" arg: %f dac: %d", arg, targetDac);
        break;
      case CLI_SIZE:
        if (arg > 5000.0)
          arg = 5000.0;
        if (arg < 1.0)
          arg = 1.0;
        SAMPLES = arg;
        break;
      case CLI_TRIG:
        if (arg > 1.0)
          arg = 1.0;
        if (arg < 0.0)
          arg = 0.0;
        TRIGGER_HOLD = arg;
        break;
      case CLI_RANDOM:
        if (arg > 1.0)
          arg = 1.0;
        if (arg < 0.0)
          arg = 0.0;
        RANDOM = arg;
        break;
      default:
        break;
      }
    }

    pch = strtok(NULL, " ");
    arguments++;
  }
}

void HAL_UART_RxCpltCallback(UART_HandleTypeDef *huart)
{
  UartRXReady = SET;
}

void HAL_UART_TxCpltCallback(UART_HandleTypeDef *huart)
{
  UartTXReady = SET;
}
/* USER CODE END 4 */

void Error_Handler(void)
{
}

/************************ (C) COPYRIGHT STMicroelectronics *****END OF FILE****/
